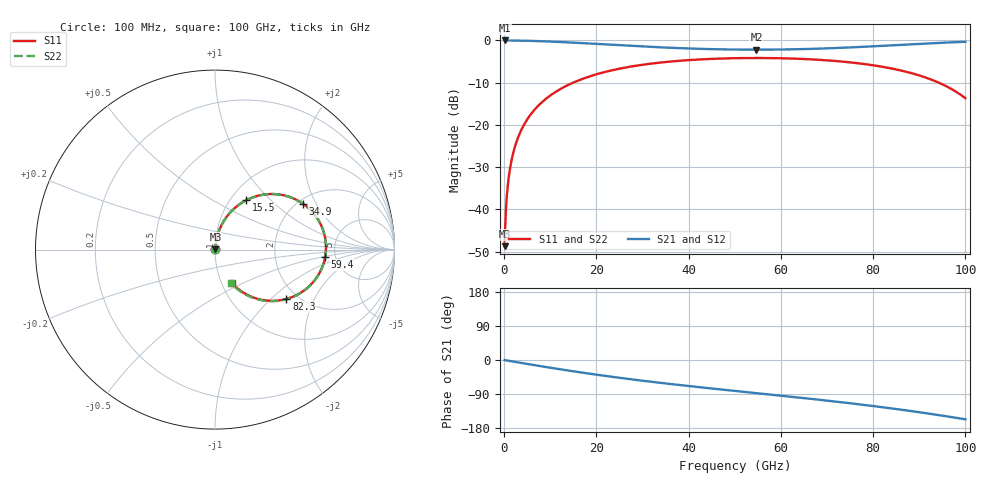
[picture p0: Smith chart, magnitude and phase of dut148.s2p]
! Touchstone file exported from HFSS 2026.1.0
!  File:  C:/ffzhzh/LocalFiles/Ansys_Project_Files/temp_train_RDL_148_1783499864_44152.aedt
!  Generated:  04:38:58 PM Jul  8, 2026
!  Design:  RDL
!  Project:  temp_train_RDL_148_1783499864_44152
! Variables:
!  h_bsmrdl = 2um
!  h_ox = 20um
!  h_rdl = 5um
!  h_sub = 80um
!  h_tmrdl = 3.47um
!  h_tsv = 80um
!  h_via = 3um
!  l_bsmrdl = 300um
!  l_sub = 920.01um
!  l_tmrdl = 520.01um
!  m_sub = 200um
!  pitch = 56.68um
!  r_tsv = 6um
!  s_tmrdl = 10um
!  w_bsmrdl = 18um
!  w_sub = 500um
!  w_tmrdl = 21.42um
!  x_tsv_center1 = 530.72um
!  x_tsv_center2 = 848.72um
!  x_tsv_center3 = 1390.15um
!  x_tsv_center4 = 1708.15um
!  x_tsv_center5 = 2249.58um
!  x_tsv_center6 = 2567.58um
# GHz S MA R 50.000000
! Terminal data exported
! Port[1] = TM_RDL1_1_T1
! Port[2] = TM_RDL1_1_T2
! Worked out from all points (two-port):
!   1000 points, 100 MHz to 100 GHz, reference 50 ohm
!   highest |S21| = -0.02 dB at 100 MHz (marker M1); lowest = -2.2 dB at 54.7 GHz (marker M2)
!   |S21| within 3 dB of the highest: start of sweep to end of sweep
!   lowest |S11| = -48.7 dB at 100 MHz (marker M3), VSWR 1.01, Z = 50.3 + j0.255 ohm
!   |S11| at or under -10 dB: start of sweep to 14.97 GHz; 94.21 GHz to end of sweep
!   |S22| runs from -48.7 to -4.2 dB; largest |S21 - S12| = 1.7e-14
!   S11 on the Smith chart (normalised r, x): 100 MHz: 1.01, +0.01; 15.5 GHz: 1.18, +0.73; 34.9 GHz: 2.15, +1.58; 59.4 GHz: 4.12, -0.53; 82.3 GHz: 1.75, -1.26; 100 GHz: 1.12, -0.43
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0.1  0.003682 43.5  0.9973 -0.2  0.9973 -0.2  0.003682 43.5
! Gamma 0 0 0 0
! Port Impedance 50 0 50 0
0.8  0.01947 78.7  0.9966 -1.7  0.9966 -1.7  0.01947 78.7
1.1  0.02643 80.4  0.9963 -2.3  0.9963 -2.3  0.02643 80.4
1.4  0.03342 81.1  0.996 -3.0  0.996 -3.0  0.03342 81.1
2.4  0.0567 81.1  0.9946 -5.0  0.9946 -5.0  0.0567 81.1
3.8  0.08898 79.3  0.9917 -7.9  0.9917 -7.9  0.08898 79.3
5.8  0.134 75.7  0.9857 -12.0  0.9857 -12.0  0.134 75.7
8.3  0.1878 71.0  0.9757 -17.1  0.9757 -17.1  0.1878 70.9
11.5  0.2524 65.0  0.9599 -23.3  0.9599 -23.3  0.2524 64.9
15.5  0.3254 57.7  0.9368 -30.8  0.9368 -30.8  0.3254 57.7
16.8  0.3472 55.4  0.9287 -33.1  0.9287 -33.1  0.3472 55.4
24.6  0.4576 42.5  0.8793 -46.3  0.8793 -46.3  0.4576 42.4
33.4  0.543 29.4  0.8297 -59.6  0.8297 -59.6  0.543 29.4
34.9  0.5539 27.4  0.8226 -61.7  0.8226 -61.7  0.5539 27.3
50.1  0.6154 7.7  0.7785 -81.7  0.7785 -81.7  0.6155 7.6
54.7  0.6187 2.1  0.776 -87.5  0.776 -87.5  0.6188 1.9
59.4  0.6152 -3.7  0.7787 -93.4  0.7787 -93.4  0.6153 -3.9
66.7  0.5954 -12.9  0.7934 -102.7  0.7934 -102.7  0.5956 -13.1
82.3  0.4838 -34.6  0.863 -125.0  0.863 -125.0  0.484 -34.9
83.4  0.4717 -36.3  0.8694 -126.8  0.8694 -126.8  0.4718 -36.6
92.8  0.3403 -51.5  0.9255 -142.8  0.9255 -142.8  0.3404 -52.0
100  0.207 -63.5  0.9613 -156.5  0.9613 -156.5  0.2071 -64.3
